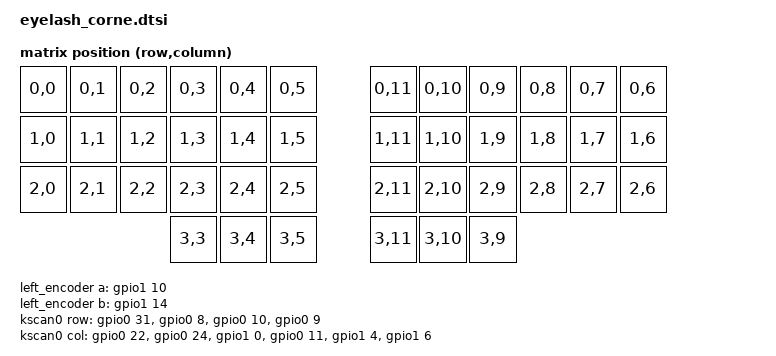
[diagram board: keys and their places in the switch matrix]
#include <dt-bindings/zmk/matrix_transform.h>
#include "../../arm/eyelash_corne/eyelash_corne-layouts.dtsi"

/ {
    chosen {
        zmk,kscan = &kscan0;
        zmk,physical-layout = &default_layout;
    };

    left_encoder: encoder_left {
        compatible = "alps,ec11";
        a-gpios = <&gpio1 10 (GPIO_ACTIVE_HIGH | GPIO_PULL_UP)>;
        b-gpios = <&gpio1 14 (GPIO_ACTIVE_HIGH | GPIO_PULL_UP)>;
        steps = <40>;
        status = "disabled";
    };

    sensors: sensors {
        compatible = "zmk,keymap-sensors";
        triggers-per-rotation = <20>;
        sensors = <&left_encoder>;
    };

    kscan0: kscan {
        compatible = "zmk,kscan-gpio-matrix";
        wakeup-source;
        diode-direction = "col2row";
        row-gpios
            = <&gpio0 31 (GPIO_ACTIVE_HIGH | GPIO_PULL_DOWN)>
            , <&gpio0 8 (GPIO_ACTIVE_HIGH | GPIO_PULL_DOWN)>
            , <&gpio0 10 (GPIO_ACTIVE_HIGH | GPIO_PULL_DOWN)>
            , <&gpio0 9 (GPIO_ACTIVE_HIGH | GPIO_PULL_DOWN)>
            ;
        col-gpios
            = <&gpio0 22 GPIO_ACTIVE_HIGH>
            , <&gpio0 24 GPIO_ACTIVE_HIGH>
            , <&gpio1 0 GPIO_ACTIVE_HIGH>
            , <&gpio0 11 GPIO_ACTIVE_HIGH>
            , <&gpio1 4 GPIO_ACTIVE_HIGH>
            , <&gpio1 6 GPIO_ACTIVE_HIGH>
            ;
    };

    default_transform: keymap_transform_0 {
        compatible = "zmk,matrix-transform";
        columns = <12>;
        rows = <4>;
        map = <
            RC(0,0) RC(0,1) RC(0,2) RC(0,3) RC(0,4) RC(0,5)  RC(0,11) RC(0,10) RC(0,9) RC(0,8) RC(0,7) RC(0,6)
            RC(1,0) RC(1,1) RC(1,2) RC(1,3) RC(1,4) RC(1,5)  RC(1,11) RC(1,10) RC(1,9) RC(1,8) RC(1,7) RC(1,6)
            RC(2,0) RC(2,1) RC(2,2) RC(2,3) RC(2,4) RC(2,5)  RC(2,11) RC(2,10) RC(2,9) RC(2,8) RC(2,7) RC(2,6)
                                    RC(3,3) RC(3,4) RC(3,5)  RC(3,11) RC(3,10) RC(3,9)
        >;
    };

    split_inputs {
        #address-cells = <1>;
        #size-cells = <0>;

        joystick_split: joystick_split@0 {
            compatible = "zmk,input-split";
            reg = <0>;
        };
    };
};

&pinctrl {
    i2c0_default: i2c0_default {
        group1 {
            psels = <NRF_PSEL(TWIM_SDA, 0, 17)>,
                <NRF_PSEL(TWIM_SCL, 0, 20)>;
            bias-pull-up;
        };
    };

    i2c0_sleep: i2c0_sleep {
        group1 {
            psels = <NRF_PSEL(TWIM_SDA, 0, 17)>,
                <NRF_PSEL(TWIM_SCL, 0, 20)>;
            low-power-enable;
        };
    };
};

&i2c0 {
    status = "disabled";
    compatible = "nordic,nrf-twim";
    pinctrl-0 = <&i2c0_default>;
    pinctrl-1 = <&i2c0_sleep>;
    pinctrl-names = "default", "sleep";

    oled: ssd1306@3c {
        compatible = "solomon,ssd1306fb";
        reg = <0x3c>;
        width = <128>;
        height = <32>;
        segment-offset = <0>;
        page-offset = <0>;
        display-offset = <0>;
        multiplex-ratio = <31>;
        segment-remap;
        com-invdir;
        com-sequential;
        inversion-on;
        prechargep = <0x22>;
    };
};
